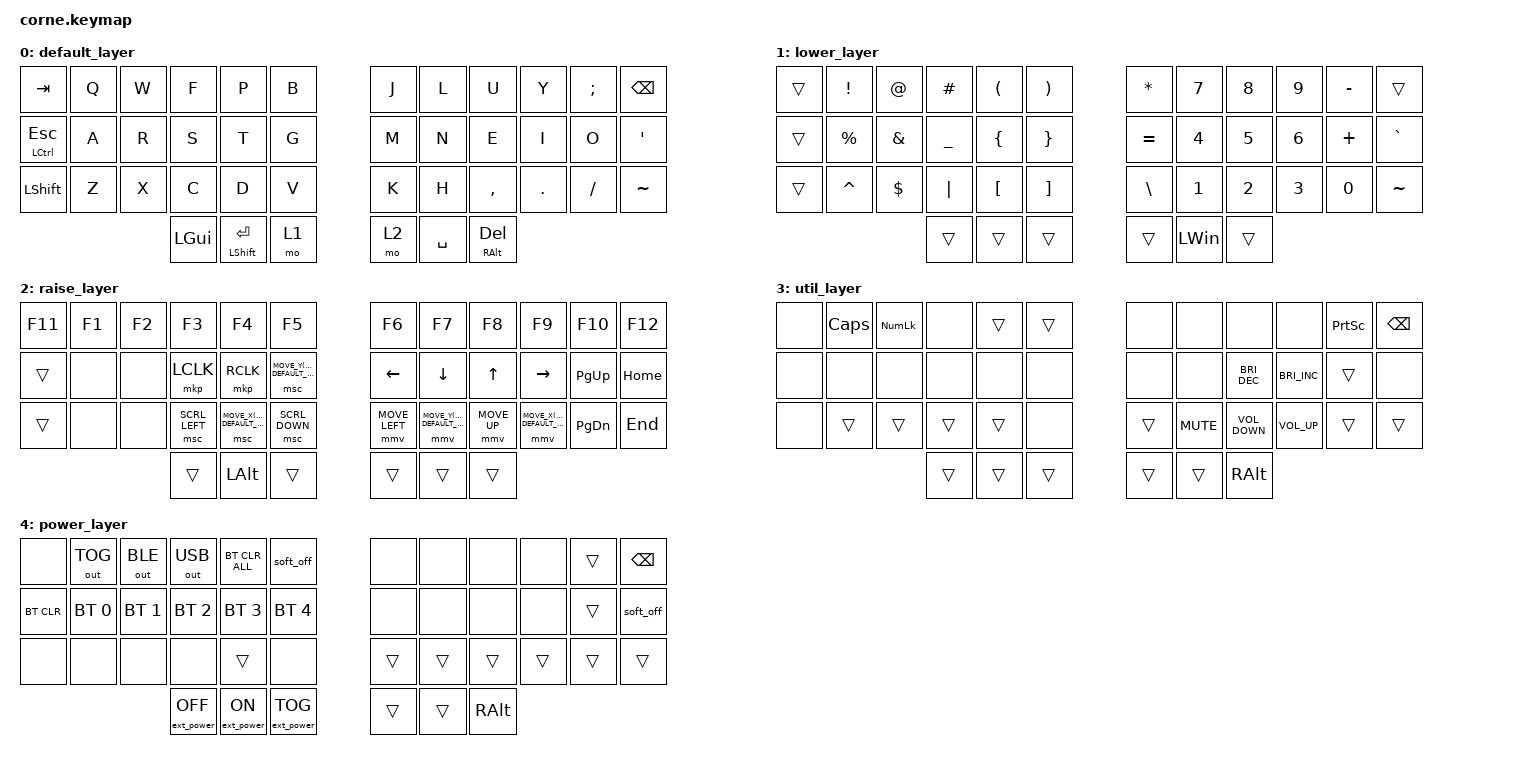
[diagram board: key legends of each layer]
/*
 * Copyright (c) 2020 The ZMK Contributors
 *
 * SPDX-License-Identifier: MIT
 */

#include <behaviors/mouse_keys.dtsi>
#include <behaviors.dtsi>
#include <dt-bindings/zmk/bt.h>
#include <dt-bindings/zmk/ext_power.h>
#include <dt-bindings/zmk/keys.h>
#include <dt-bindings/zmk/mouse.h>
#include <dt-bindings/zmk/outputs.h>

#define ZMK_MOUSE_DEFAULT_MOVE_VAL 1400
#define MOVE_UP MOVE_Y(-ZMK_MOUSE_DEFAULT_MOVE_VAL)
#define MOVE_DOWN MOVE_Y(ZMK_MOUSE_DEFAULT_MOVE_VAL)
#define MOVE_LEFT MOVE_X(-ZMK_MOUSE_DEFAULT_MOVE_VAL)
#define MOVE_RIGHT MOVE_X(ZMK_MOUSE_DEFAULT_MOVE_VAL)
#define ZMK_MOUSE_DEFAULT_SCRL_VAL 100

#undef SCRL_UP
#undef SCRL_DOWN
#undef SCRL_LEFT
#undef SCRL_RIGHT

#define SCRL_UP MOVE_Y(ZMK_MOUSE_DEFAULT_SCRL_VAL)
#define SCRL_DOWN MOVE_Y(-ZMK_MOUSE_DEFAULT_SCRL_VAL)
#define SCRL_LEFT MOVE_X(-ZMK_MOUSE_DEFAULT_SCRL_VAL)
#define SCRL_RIGHT MOVE_X(ZMK_MOUSE_DEFAULT_SCRL_VAL)

&soft_off { 
    hold-time-ms = <500>; 
};

&mmv {
    time-to-max-speed-ms = <400>;             /* <--- How long time until max speed is reached (default: 500) */
    delay-ms = <0>;
};

&msc {
    time-to-max-speed-ms = <500>;                 /* <--- How long time until max speed is reached */
};

/ {
    combos {
        compatible = "zmk,combos";

        keymap {
            bindings = <&mo 3>;
            key-positions = <38 39>;
        };

        bt_cfg {
            bindings = <&mo 4>;
            key-positions = <29 25>;
        };
    };

    keymap {
        compatible = "zmk,keymap";

        default_layer {
            // -----------------------------------------------------------------------------------------
            // |  TAB |  Q  |  W  |  E  |  R  |  T  |   |  Y  |  U   |  I  |  O  |  P  | BKSP |
            // | CTRL |  A  |  S  |  D  |  F  |  G  |   |  H  |  J   |  K  |  L  |  ;  |  '   |
            // | SHFT |  Z  |  X  |  C  |  V  |  B  |   |  N  |  M   |  ,  |  .  |  /  | ESC  |
            //                    | GUI | LWR | SPC |   | ENT | RSE  | ALT |

            bindings = <
&kp TAB           &kp Q  &kp W  &kp F     &kp P                 &kp B    &kp J  &kp L      &kp U         &kp Y    &kp SEMICOLON  &kp BSPC
&mt LCTRL ESCAPE  &kp A  &kp R  &kp S     &kp T                 &kp G    &kp M  &kp N      &kp E         &kp I    &kp O          &kp SQT
&kp LSHFT         &kp Z  &kp X  &kp C     &kp D                 &kp V    &kp K  &kp H      &kp COMMA     &kp DOT  &kp FSLH       &kp TILDE
                                &kp LGUI  &mt LEFT_SHIFT ENTER  &mo 1    &mo 2  &kp SPACE  &mt RALT DEL
            >;
        };

        lower_layer {
            // -----------------------------------------------------------------------------------------
            // |  TAB |  1  |  2  |  3  |  4  |  5  |   |  6  |  7  |  8  |  9  |  0  | BKSP |
            // | BTCLR| BT1 | BT2 | BT3 | BT4 | BT5 |   | LFT | DWN |  UP | RGT |     |      |
            // | SHFT |     |     |     |     |     |   |     |     |     |     |     |      |
            //                    | GUI |     | SPC |   | ENT |     | ALT |

            bindings = <
&trans  &kp EXCLAMATION  &kp AT_SIGN    &kp HASH   &kp LEFT_PARENTHESIS  &kp RIGHT_PARENTHESIS    &kp STAR       &kp N7        &kp N8        &kp N9        &kp MINUS  &trans
&trans  &kp PERCENT      &kp AMPERSAND  &kp UNDER  &kp LEFT_BRACE        &kp RIGHT_BRACE          &kp EQUAL      &kp NUMBER_4  &kp NUMBER_5  &kp NUMBER_6  &kp PLUS   &kp GRAVE
&trans  &kp CARET        &kp DOLLAR     &kp PIPE   &kp LEFT_BRACKET      &kp RIGHT_BRACKET        &kp BACKSLASH  &kp NUMBER_1  &kp NUMBER_2  &kp NUMBER_3  &kp N0     &kp TILDE
                                        &trans     &trans                &trans                   &trans         &kp LEFT_WIN  &trans
            >;
        };

        raise_layer {
            // -----------------------------------------------------------------------------------------
            // |  TAB |  !  |  @  |  #  |  $  |  %  |   |  ^  |  &  |  *  |  (  |  )  | BKSP |
            // | CTRL |     |     |     |     |     |   |  -  |  =  |  [  |  ]  |  \  |  `   |
            // | SHFT |     |     |     |     |     |   |  _  |  +  |  {  |  }  | "|" |  ~   |
            //                    | GUI |     | SPC |   | ENT |     | ALT |

            bindings = <
&kp F11  &kp F1  &kp F2  &kp F3           &kp F4          &kp F5          &kp F6           &kp F7          &kp F8             &kp F9           &kp F10        &kp F12
&trans   &none   &none   &mkp LCLK        &mkp RCLK       &msc SCRL_UP    &kp LEFT         &kp DOWN_ARROW  &kp UP_ARROW       &kp RIGHT        &kp PAGE_UP    &kp HOME
&trans   &none   &none   &msc SCRL_LEFT   &msc SCRL_RIGHT &msc SCRL_DOWN  &mmv MOVE_LEFT   &mmv MOVE_DOWN  &mmv MOVE_UP       &mmv MOVE_RIGHT  &kp PAGE_DOWN  &kp END
                         &trans           &kp LEFT_ALT    &trans          &trans           &trans          &trans
            >;
        };

        util_layer {
            bindings = <
&none  &kp CAPS   &kp KP_NUMLOCK   &none   &trans  &trans    &none           &none           &none                &none                &kp PRINTSCREEN  &kp BSPC
&none  &none      &none            &none   &none   &none     &none           &none           &kp C_BRIGHTNESS_DEC &kp C_BRIGHTNESS_INC &trans           &none
&none  &trans     &trans           &trans  &trans  &none     &trans          &kp C_MUTE      &kp C_VOLUME_DOWN    &kp C_VOLUME_UP      &trans           &trans
                                   &trans  &trans  &trans    &trans          &trans          &kp RALT
            >;
        };

        power_layer {
            bindings = <
&none       &out OUT_TOG  &out OUT_BLE  &out OUT_USB       &bt BT_CLR_ALL     &soft_off           &none   &none   &none     &none   &trans  &kp BSPC
&bt BT_CLR  &bt BT_SEL 0  &bt BT_SEL 1  &bt BT_SEL 2       &bt BT_SEL 3       &bt BT_SEL 4        &none   &none   &none     &none   &trans  &soft_off
&none       &none         &none         &none              &trans             &none               &trans  &trans  &trans    &trans  &trans  &trans
                                        &ext_power EP_OFF  &ext_power EP_ON   &ext_power EP_TOG    &trans  &trans  &kp RALT
            >;
        };
    };
};
